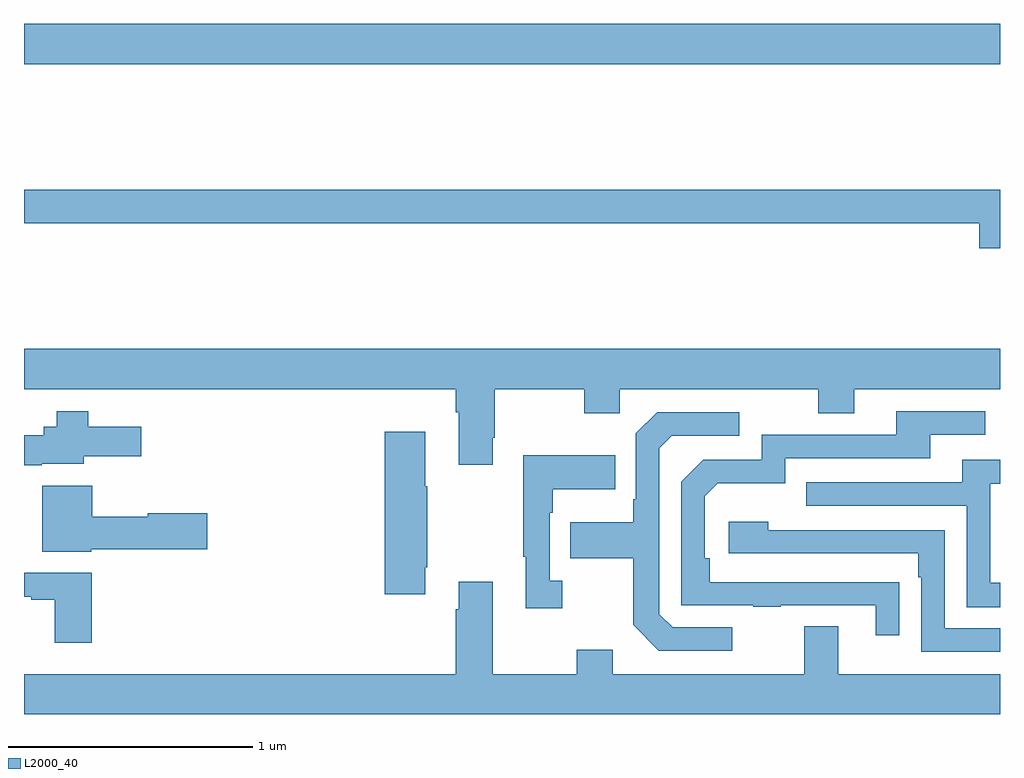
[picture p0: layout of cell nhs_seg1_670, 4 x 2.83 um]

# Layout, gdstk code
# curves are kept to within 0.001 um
import gdstk
lib = gdstk.Library(unit=1e-6, precision=1e-09)
def R(c, l, rs):  # rectangles x0, y0, x1, y1
    for r in rs: c.add(gdstk.rectangle(r[:2], r[2:], *l))
def P(c, l, *ps):  # polygons
    for p in ps: c.add(gdstk.Polygon(p, *l))
L2000_40 = (2000, 40)

nhs_seg1_670 = lib.new_cell('nhs_seg1_670')
R(nhs_seg1_670, L2000_40, [(147,551.732,151,551.896)])
P(nhs_seg1_670, L2000_40, [(151,551.216),(147,551.216),(147,551.08),(150.914,551.08),(150.914,550.976),(151,550.976)],
  [(148.921,550.201),(148.929,550.201),(148.929,550.4),(149.296,550.4),(149.296,550.301),(149.442,550.301),(149.442,550.4),(150.256,550.4),(150.256,550.301),(150.403,550.301),(150.403,550.4),(151,550.4),(151,550.564),(147,550.564),(147,550.4),(148.769,550.4),(148.769,550.304),(148.781,550.304),(148.781,550.089),(148.921,550.089)],
  [(147.072,550.094),(147.244,550.094),(147.244,550.124),(147.481,550.124),(147.481,550.246),(147.263,550.246),(147.263,550.309),(147.135,550.309),(147.135,550.246),(147.08,550.246),(147.08,550.21),(147,550.21),(147,550.088),(147.072,550.088)],
  [(150.587,549.608),(149.81,549.609),(149.81,549.706),(149.79,549.706),(149.79,549.96),(149.843,550.013),(150.12,550.013),(150.12,550.116),(150.715,550.116),(150.715,550.212),(150.94,550.212),(150.94,550.308),(150.575,550.308),(150.575,550.212),(150.024,550.212),(150.024,550.11),(149.784,550.11),(149.694,550.02),(149.694,549.513),(149.989,549.513),(149.989,549.508),(150.101,549.508),(150.101,549.513),(150.491,549.513),(150.491,549.39),(150.587,549.39)],
  [(149.902,549.423),(149.658,549.423),(149.604,549.477),(149.604,550.158),(149.655,550.209),(149.932,550.209),(149.932,550.305),(149.595,550.305),(149.508,550.218),(149.508,549.949),(149.496,549.949),(149.496,549.853),(149.239,549.853),(149.239,549.706),(149.496,549.706),(149.496,549.433),(149.601,549.327),(149.902,549.327)],
  [(148.645,549.67),(148.653,549.67),(148.653,550.001),(148.645,550.001),(148.645,550.225),(148.478,550.225),(148.478,549.558),(148.645,549.558)],
  [(149.206,549.614),(149.154,549.614),(149.154,549.893),(149.167,549.893),(149.167,549.989),(149.423,549.989),(149.423,550.129),(149.046,550.129),(149.046,549.713),(149.057,549.713),(149.057,549.501),(149.206,549.501)],
  [(151,549.606),(150.96,549.606),(150.96,550.011),(151,550.011),(151,550.111),(150.845,550.111),(150.845,550.017),(150.205,550.017),(150.205,549.921),(150.864,549.921),(150.864,549.505),(151,549.505)],
  [(147.276,549.743),(147.751,549.743),(147.751,549.89),(147.507,549.89),(147.507,549.877),(147.28,549.877),(147.28,550.004),(147.074,550.004),(147.074,549.734),(147.276,549.734)],
  [(151,549.42),(150.774,549.42),(150.774,549.822),(150.05,549.822),(150.05,549.856),(149.889,549.856),(149.889,549.726),(150.665,549.726),(150.665,549.629),(150.678,549.629),(150.678,549.324),(151,549.324)],
  [(147.278,549.646),(147,549.646),(147,549.549),(147.029,549.549),(147.029,549.537),(147.125,549.537),(147.125,549.36),(147.278,549.36)],
  [(151,549.232),(150.337,549.232),(150.337,549.427),(150.197,549.427),(150.197,549.232),(149.413,549.232),(149.413,549.331),(149.266,549.331),(149.266,549.232),(148.921,549.232),(148.921,549.61),(148.781,549.61),(148.781,549.497),(148.769,549.497),(148.769,549.232),(147,549.232),(147,549.068),(151,549.068)])

lib.write_gds('nhs_seg1_670.gds')
